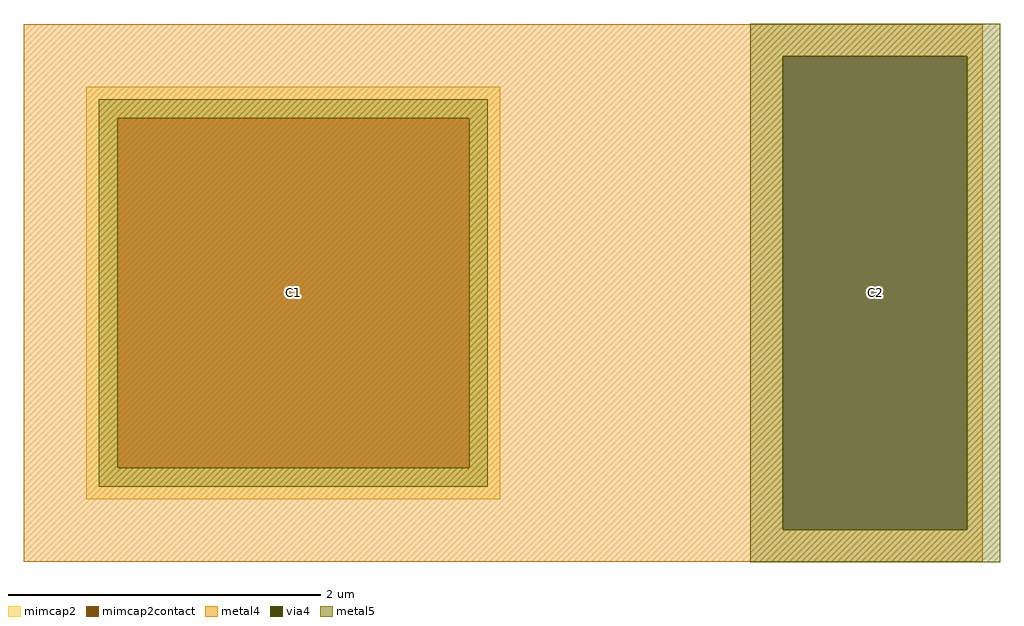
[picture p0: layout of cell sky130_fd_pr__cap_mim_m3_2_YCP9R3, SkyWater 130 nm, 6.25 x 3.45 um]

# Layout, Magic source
magic
tech sky130A
magscale 1 2
<< metal4 >>
rect -614 303 614 344
rect -614 -303 358 303
rect 594 -303 614 303
rect -614 -344 614 -303
<< via4 >>
rect 358 -303 594 303
<< mimcap2 >>
rect -534 224 -4 264
rect -534 -224 -494 224
rect -44 -224 -4 224
rect -534 -264 -4 -224
<< mimcap2contact >>
rect -494 -224 -44 224
<< metal5 >>
rect 316 303 636 345
rect -518 224 -20 248
rect -518 -224 -494 224
rect -44 -224 -20 224
rect -518 -248 -20 -224
rect 316 -303 358 303
rect 594 -303 636 303
rect 316 -345 636 -303
<< labels >>
rlabel via4 476 0 476 0 0 C2
port 3 nsew
rlabel mimcap2contact -269 0 -269 0 0 C1
port 4 nsew
<< properties >>
string FIXED_BBOX -614 -344 76 344
string gencell sky130_fd_pr__cap_mim_m3_2
string library sky130
string parameters w 2.65 l 2.64 val 16.002 carea 2.00 cperi 0.19 class capacitor nx 1 ny 1 dummy 0 square 0 lmin 2.00 wmin 2.00 lmax 30.0 wmax 30.0 dc 0 bconnect 1 tconnect 1 ccov 100 doports 1
<< end >>
